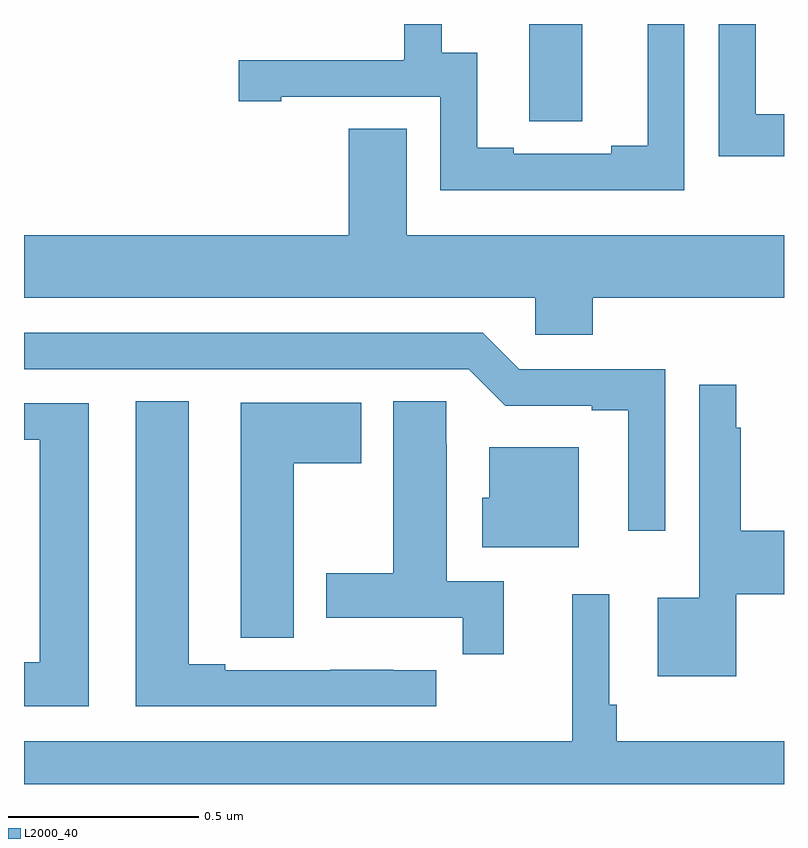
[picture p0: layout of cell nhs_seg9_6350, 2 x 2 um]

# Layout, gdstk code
import gdstk
lib = gdstk.Library(unit=1e-6, precision=1e-09)
def P(c, l, *ps):  # polygons
    for p in ps: c.add(gdstk.Polygon(p, *l))
L2000_40 = (2000, 40)

nhs_seg9_6350 = lib.new_cell('nhs_seg9_6350')
P(nhs_seg9_6350, L2000_40, [(192.738,1170.5),(192.641,1170.5),(192.641,1170.179),(192.545,1170.179),(192.545,1170.159),(192.289,1170.159),(192.289,1170.174),(192.193,1170.174),(192.193,1170.425),(192.099,1170.425),(192.099,1170.5),(192,1170.5),(192,1170.406),(191.999,1170.406),(191.999,1170.405),(191.565,1170.405),(191.565,1170.297),(191.677,1170.297),(191.677,1170.309),(192.096,1170.309),(192.096,1170.063),(192.738,1170.063)],
  [(192.469,1170.5),(192.329,1170.5),(192.329,1170.352),(192.33,1170.352),(192.33,1170.244),(192.469,1170.244)],
  [(193,1170.262),(192.925,1170.262),(192.925,1170.5),(192.828,1170.5),(192.828,1170.152),(193,1170.152)],
  [(192.497,1169.78),(193,1169.78),(193,1169.944),(192.007,1169.944),(192.007,1170.224),(191.855,1170.224),(191.855,1169.944),(191,1169.944),(191,1169.78),(192.345,1169.78),(192.345,1169.682),(192.497,1169.682)],
  [(192.687,1169.592),(192.303,1169.592),(192.207,1169.688),(191,1169.688),(191,1169.592),(192.171,1169.592),(192.267,1169.496),(192.494,1169.496),(192.494,1169.484),(192.59,1169.484),(192.59,1169.166),(192.687,1169.166)],
  [(192.874,1169),(193,1169),(193,1169.166),(192.886,1169.166),(192.886,1169.438),(192.874,1169.438),(192.874,1169.551),(192.777,1169.551),(192.777,1168.99),(192.668,1168.99),(192.668,1168.784),(192.874,1168.784)],
  [(192.263,1169.034),(192.112,1169.034),(192.112,1169.396),(192.111,1169.396),(192.111,1169.507),(191.972,1169.507),(191.972,1169.055),(191.795,1169.055),(191.795,1168.938),(192.154,1168.938),(192.154,1168.842),(192.263,1168.842)],
  [(192.085,1168.8),(191.972,1168.8),(191.972,1168.801),(191.806,1168.801),(191.806,1168.8),(191.53,1168.8),(191.53,1168.815),(191.434,1168.815),(191.434,1169.507),(191.294,1169.507),(191.294,1168.704),(192.085,1168.704)],
  [(191.71,1169.344),(191.887,1169.344),(191.887,1169.503),(191.57,1169.503),(191.57,1168.993),(191.571,1168.993),(191.571,1168.885),(191.71,1168.885)],
  [(191.17,1169.502),(191,1169.502),(191,1169.406),(191.042,1169.406),(191.042,1168.82),(191,1168.82),(191,1168.704),(191.17,1168.704)],
  [(192.46,1169.386),(192.224,1169.386),(192.224,1169.253),(192.206,1169.253),(192.206,1169.123),(192.46,1169.123)],
  [(193,1168.612),(192.56,1168.612),(192.56,1168.708),(192.54,1168.708),(192.54,1168.999),(192.443,1168.999),(192.443,1168.612),(191,1168.612),(191,1168.5),(193,1168.5)])

lib.write_gds('nhs_seg9_6350.gds')
